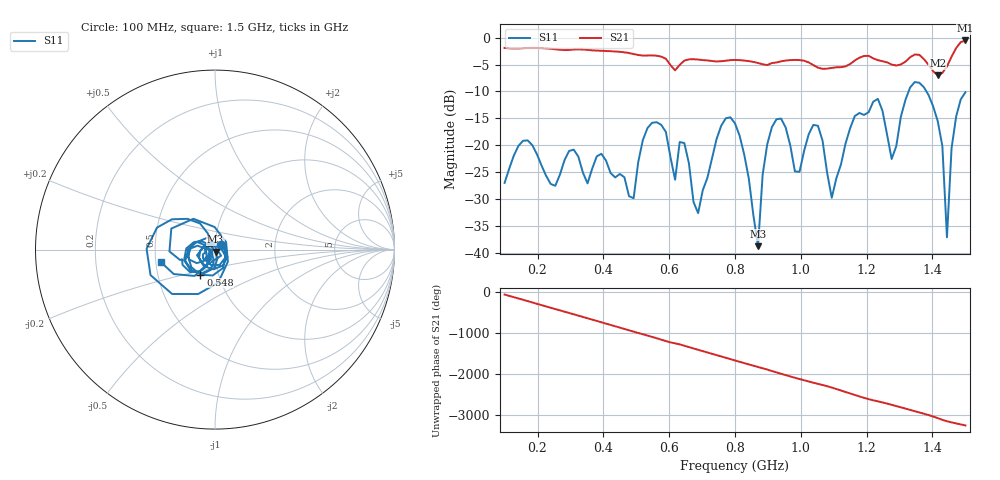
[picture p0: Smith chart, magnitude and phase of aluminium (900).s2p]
! NanoVNA-App
! Date: 2025-09-25 15:02:17
! Start: 100MHz Stop: 1,5GHz Points: 101
! S-Parameter data: F S11 S21 S12 S22
# Hz S RI R 50
!  Frequency  S11_Real  S11_Imag  S21_Real  S21_Imag  S12_Real  S12_Imag  S22_Real  S22_Imag
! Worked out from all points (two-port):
!   101 points, 100 MHz to 1.5 GHz, reference 50 ohm
!   highest |S21| = -0.54 dB at 1.5 GHz (marker M1); lowest = -7.0 dB at 1.416 GHz (marker M2)
!   |S21| within 3 dB of the highest: start of sweep to 575.9 MHz; 1.458 GHz to end of sweep (the widest 2 of 4)
!   lowest |S11| = -38.7 dB at 870 MHz (marker M3), VSWR 1.02, Z = 50.3 - j1.13 ohm
!   |S11| at or under -10 dB: start of sweep to 1.328 GHz; 1.382 GHz to end of sweep
!   S12 and S22 are empty: the file has one direction only
!   S11 on the Smith chart (normalised r, x): 100 MHz: 1.07, +0.06; 548 MHz: 0.82, -0.24; 1.5 GHz: 0.53, -0.08
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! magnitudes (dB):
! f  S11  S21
! 100 MHz  -27.0  -1.9
! 156 MHz  -19.1  -2.0
! 338 MHz  -25.1  -2.2
! 492 MHz  -29.8  -3.1
! 548 MHz  -15.8  -3.3
! 576 MHz  -16.2  -3.5
! 618 MHz  -26.4  -6.1
! 646 MHz  -19.6  -4.3
! 688 MHz  -32.6  -4.1
! 800 MHz  -15.9  -4.2
! 870 MHz  -38.7  -4.7
! 912 MHz  -16.6  -4.7
! 996 MHz  -24.9  -4.2
! 1.038 GHz  -16.2  -5.1
! 1.094 GHz  -29.7  -5.6
! 1.22 GHz  -11.9  -3.9
! 1.276 GHz  -22.5  -5.0
! 1.346 GHz  -8.3  -3.2
! 1.416 GHz  -15.5  -7.0
! 1.444 GHz  -37.0  -5.4
! 1.458 GHz  -20.5  -3.5
! 1.5 GHz  -10.2  -0.5
